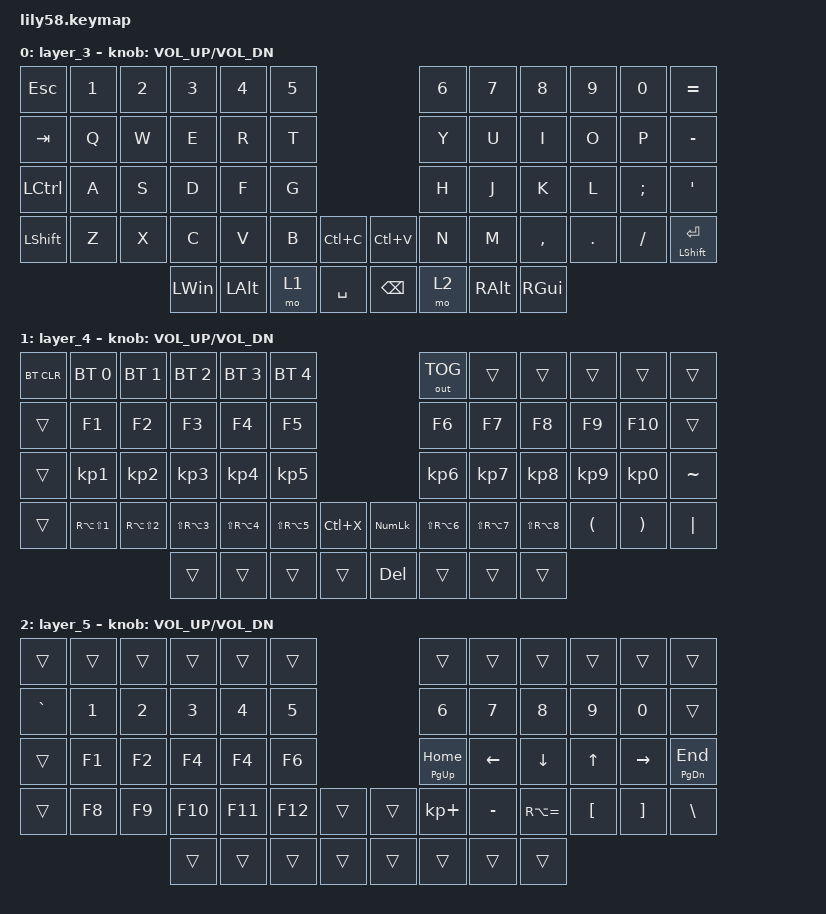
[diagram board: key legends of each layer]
/*
 * Copyright (c) 2020 The ZMK Contributors
 *
 * SPDX-License-Identifier: MIT
 */

#include <behaviors.dtsi>
#include <dt-bindings/zmk/bt.h>
#include <dt-bindings/zmk/keys.h>
#include <dt-bindings/zmk/outputs.h>

/ {
    combos { compatible = "zmk,combos"; };

    keymap {
        compatible = "zmk,keymap";

        layer_3 {
            bindings = <
&kp ESC         &kp N1  &kp N2  &kp N3        &kp N4        &kp N5                              &kp N6  &kp N7         &kp N8     &kp N9   &kp N0    &kp EQUAL
&kp TAB         &kp Q   &kp W   &kp E         &kp R         &kp T                               &kp Y   &kp U          &kp I      &kp O    &kp P     &kp MINUS
&kp LCTRL       &kp A   &kp S   &kp D         &kp F         &kp G                               &kp H   &kp J          &kp K      &kp L    &kp SEMI  &kp SQT
&kp LEFT_SHIFT  &kp Z   &kp X   &kp C         &kp V         &kp B   &kp LC(C)    &kp LC(V)      &kp N   &kp M          &kp COMMA  &kp DOT  &kp FSLH  &mt LEFT_SHIFT ENTER
                                &kp LEFT_WIN  &kp LEFT_ALT  &mo 1   &kp SPACE    &kp BACKSPACE  &mo 2   &kp RIGHT_ALT  &kp RGUI
            >;

            sensor-bindings = <&inc_dec_kp C_VOL_UP C_VOL_DN>;
        };

        layer_4 {
            bindings = <
&bt BT_CLR  &bt BT_SEL 0          &bt BT_SEL 1     &bt BT_SEL 2          &bt BT_SEL 3          &bt BT_SEL 4                                  &out OUT_TOG          &trans           &trans           &trans                &trans                 &trans
&trans      &kp F1                &kp F2           &kp F3                &kp F4                &kp F5                                        &kp F6                &kp F7           &kp F8           &kp F9                &kp F10                &trans
&trans      &kp KP_NUMBER_1       &kp KP_NUMBER_2  &kp KP_NUMBER_3       &kp KP_NUMBER_4       &kp KP_NUMBER_5                               &kp KP_NUMBER_6       &kp KP_NUMBER_7  &kp KP_NUMBER_8  &kp KP_NUMBER_9       &kp KP_NUMBER_0        &kp TILDE
&trans      &kp RA(LS(NUMBER_1))  &kp RA(LS(N2))   &kp LS(RA(NUMBER_3))  &kp LS(RA(NUMBER_4))  &kp LS(RA(N5))   &kp LC(X)    &kp KP_NUMLOCK  &kp LS(RA(NUMBER_6))  &kp LS(RA(N7))   &kp LS(RA(N8))   &kp LEFT_PARENTHESIS  &kp RIGHT_PARENTHESIS  &kp PIPE
                                                   &trans                &trans                &trans           &trans       &kp DELETE      &trans                &trans           &trans
            >;

            sensor-bindings = <&inc_dec_kp C_VOL_UP C_VOL_DN>;
        };

        layer_5 {
            bindings = <
&trans     &trans  &trans  &trans   &trans   &trans                     &trans            &trans     &trans         &trans    &trans     &trans
&kp GRAVE  &kp N1  &kp N2  &kp N3   &kp N4   &kp N5                     &kp N6            &kp N7     &kp N8         &kp N9    &kp N0     &trans
&trans     &kp F1  &kp F2  &kp F4   &kp F4   &kp F6                     &mt PAGE_UP HOME  &kp LEFT   &kp DOWN       &kp UP    &kp RIGHT  &mt PAGE_DOWN END
&trans     &kp F8  &kp F9  &kp F10  &kp F11  &kp F12  &trans    &trans  &kp KP_PLUS       &kp MINUS  &kp RA(EQUAL)  &kp LBKT  &kp RBKT   &kp BSLH
                           &trans   &trans   &trans   &trans    &trans  &trans            &trans     &trans
            >;

            sensor-bindings = <&inc_dec_kp C_VOL_UP C_VOL_DN>;
        };
    };
};
